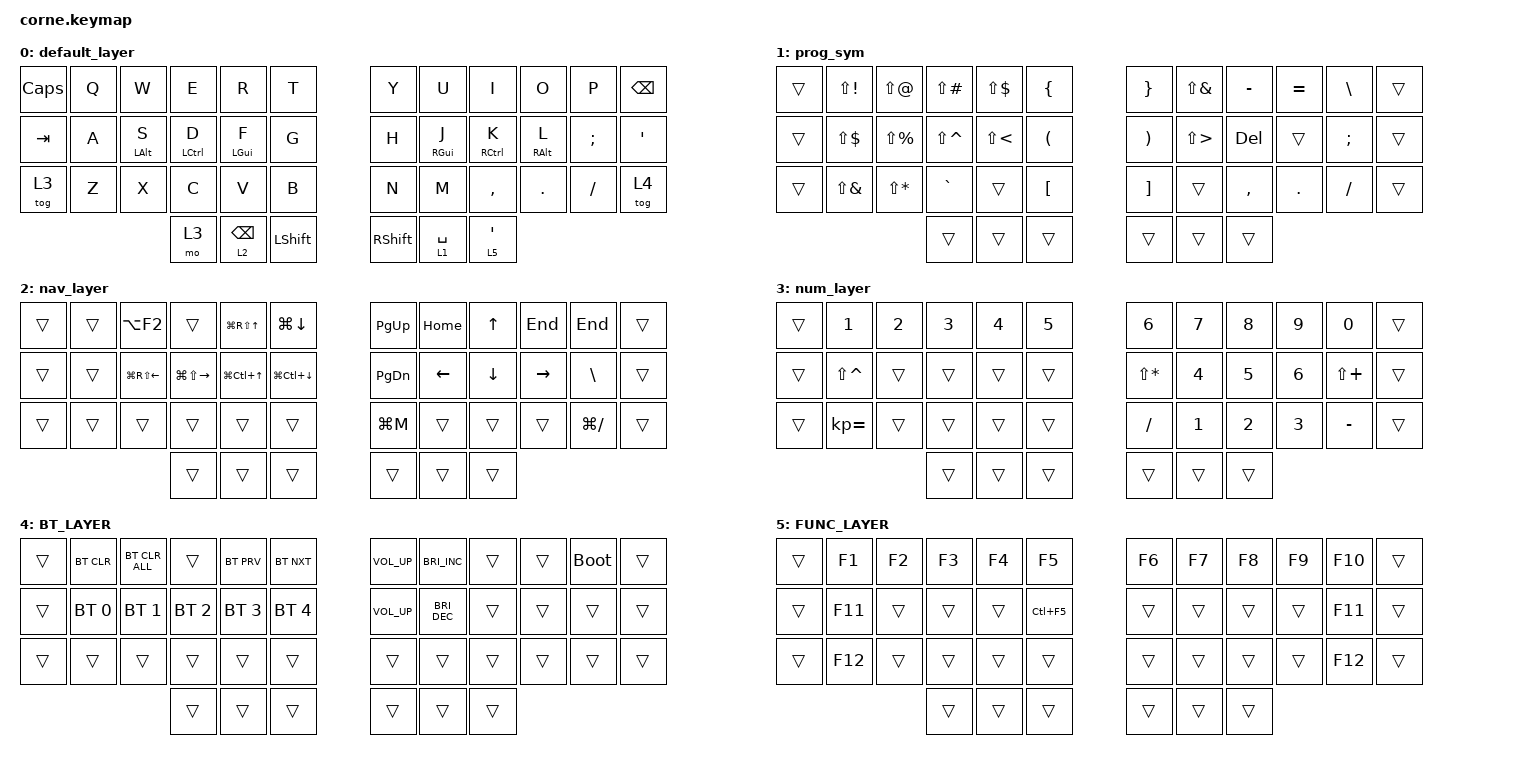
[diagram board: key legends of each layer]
/*
 * Copyright (c) 2020 The ZMK Contributors
 *
 * SPDX-License-Identifier: MIT
 */

#include <behaviors.dtsi>
#include <dt-bindings/zmk/bt.h>
#include <dt-bindings/zmk/keys.h>

/ {
    combos {
        compatible = "zmk,combos";

        enter_combo {
            bindings = <&kp ENTER>;
            key-positions = <19 20 21>;
        };

        tab_combo {
            bindings = <&kp TAB>;
            key-positions = <16 15 14>;
        };

        esc_combo {
            bindings = <&kp ESCAPE>;
            key-positions = <2 3>;
        };
    };

    behaviors {
        modtap_behave: modtap_behave {
            compatible = "zmk,behavior-hold-tap";
            label = "MODTAP_BEHAVE";
            bindings = <&kp>, <&kp>;

            #binding-cells = <2>;
            tapping-term-ms = <175>;
            quick-tap-ms = <180>;
            require-prior-idle-ms = <100>;
            flavor = "tap-preferred";
        };
    };

    keymap {
        compatible = "zmk,keymap";

        default_layer {
            // -----------------------------------------------------------------------------------------
            // |  TAB |  Q  |  W  |  E  |  R  |  T  |   |  Y  |  U   |  I  |  O  |  P  | BSPC |
            // | CTRL |  A  |  S  |  D  |  F  |  G  |   |  H  |  J   |  K  |  L  |  ;  |  '   |
            // | SHFT |  Z  |  X  |  C  |  V  |  B  |   |  N  |  M   |  ,  |  .  |  /  | ESC  |
            //                    | GUI | LWR | SPC |   | ENT | RSE  | ALT |

            bindings = <
&kp CAPSLOCK  &kp Q  &kp W                      &kp E                   &kp R                      &kp T             &kp Y       &kp U                  &kp I                   &kp O                       &kp P     &kp BSPC
&kp TAB       &kp A  &modtap_behave LEFT_ALT S  &modtap_behave LCTRL D  &modtap_behave LEFT_GUI F  &kp G             &kp H       &modtap_behave RGUI J  &modtap_behave RCTRL K  &modtap_behave RIGHT_ALT L  &kp SEMI  &kp SQT
&tog 3        &kp Z  &kp X                      &kp C                   &kp V                      &kp B             &kp N       &kp M                  &kp COMMA               &kp DOT                     &kp FSLH  &tog 4
                                                &mo 3                   &lt 2 BACKSPACE            &kp LEFT_SHIFT    &kp RSHIFT  &lt 1 SPACE            &lt 5 SQT
            >;
        };

        prog_sym {
            // -----------------------------------------------------------------------------------------
            // |  TAB |  1  |  2  |  3  |  4  |  5  |   |  6  |  7  |  8  |  9  |  0  | BSPC |
            // | BTCLR| BT1 | BT2 | BT3 | BT4 | BT5 |   | LFT | DWN |  UP | RGT |     |      |
            // | SHFT |     |     |     |     |     |   |     |     |     |     |     |      |
            //                    | GUI |     | SPC |   | ENT |     | ALT |

            bindings = <
&trans  &kp LS(EXCL)  &kp LS(AT)     &kp LS(POUND)  &kp LS(DLLR)  &kp LEFT_BRACE          &kp RIGHT_BRACE        &kp LS(AMPS)  &kp MINUS  &kp EQUAL  &kp BSLH       &trans
&trans  &kp LS(DLLR)  &kp LS(PRCNT)  &kp LS(CARET)  &kp LS(LT)    &kp LEFT_PARENTHESIS    &kp RIGHT_PARENTHESIS  &kp LS(GT)    &kp DEL    &trans     &kp SEMICOLON  &trans
&trans  &kp LS(AMPS)  &kp LS(STAR)   &kp GRAVE      &trans        &kp LBKT                &kp RBKT               &trans        &kp COMMA  &kp DOT    &kp FSLH       &trans
                                     &trans         &trans        &trans                  &trans                 &trans        &trans
            >;
        };

        nav_layer {
            // -----------------------------------------------------------------------------------------
            // |  TAB |  !  |  @  |  #  |  $  |  %  |   |  ^  |  &  |  *  |  (  |  )  | BSPC |
            // | CTRL |     |     |     |     |     |   |  -  |  =  |  [  |  ]  |  \  |  `   |
            // | SHFT |     |     |     |     |     |   |  _  |  +  |  {  |  }  | "|" |  ~   |
            //                    | GUI |     | SPC |   | ENT |     | ALT |

            bindings = <
&trans  &trans  &kp LA(F2)        &trans             &kp LG(RS(UP_ARROW))  &kp LG(DOWN)        &kp PG_UP  &kp HOME  &kp UP    &kp END    &kp END        &trans
&trans  &trans  &kp LG(RS(LEFT))  &kp LG(LS(RIGHT))  &kp LG(LC(UP_ARROW))  &kp LG(LC(DOWN))    &kp PG_DN  &kp LEFT  &kp DOWN  &kp RIGHT  &kp BSLH       &trans
&trans  &trans  &trans            &trans             &trans                &trans              &kp LG(M)  &trans    &trans    &trans     &kp LG(SLASH)  &trans
                                  &trans             &trans                &trans              &trans     &trans    &trans
            >;
        };

        num_layer {
            // -----------------------------------------------------------------------------------------
            // Number Layer - Right Half Keys:
            // Row 1: |  6  |  7  |  8  |  9  |  0  |      |
            // Row 2: |  *  |  4  |  5  |  6  |  +  |      |
            // Row 3: |  /  |  1  |  2  |  3  |  -  |      |
            //                    |     |     |     |
            // -----------------------------------------------------------------------------------------

            bindings = <
&trans  &kp N1         &kp N2  &kp N3  &kp N4  &kp N5    &kp N6        &kp N7  &kp N8  &kp N9  &kp N0        &trans
&trans  &kp LS(CARET)  &trans  &trans  &trans  &trans    &kp LS(STAR)  &kp N4  &kp N5  &kp N6  &kp LS(PLUS)  &trans
&trans  &kp KP_EQUAL   &trans  &trans  &trans  &trans    &kp FSLH      &kp N1  &kp N2  &kp N3  &kp MINUS     &trans
                               &trans  &trans  &trans    &trans        &trans  &trans
            >;
        };

        BT_LAYER {
            bindings = <
&trans  &bt BT_CLR    &bt BT_CLR_ALL  &trans        &bt BT_PRV    &bt BT_NXT      &kp C_VOLUME_UP  &kp C_BRIGHTNESS_INC  &trans  &trans  &bootloader  &trans
&trans  &bt BT_SEL 0  &bt BT_SEL 1    &bt BT_SEL 2  &bt BT_SEL 3  &bt BT_SEL 4    &kp C_VOL_UP     &kp C_BRIGHTNESS_DEC  &trans  &trans  &trans       &trans
&trans  &trans        &trans          &trans        &trans        &trans          &trans           &trans                &trans  &trans  &trans       &trans
                                      &trans        &trans        &trans          &trans           &trans                &trans
            >;
        };

        FUNC_LAYER {
            bindings = <
&trans  &kp F1   &kp F2  &kp F3  &kp F4  &kp F5        &kp F6  &kp F7  &kp F8  &kp F9  &kp F10  &trans
&trans  &kp F11  &trans  &trans  &trans  &kp LC(F5)    &trans  &trans  &trans  &trans  &kp F11  &trans
&trans  &kp F12  &trans  &trans  &trans  &trans        &trans  &trans  &trans  &trans  &kp F12  &trans
                         &trans  &trans  &trans        &trans  &trans  &trans
            >;
        };
    };

    conditional_layers {
        compatible = "zmk,conditional-layers";

        bt_combo {
            if-layers = <1 2>;
            then-layer = <4>;
        };
    };
};
